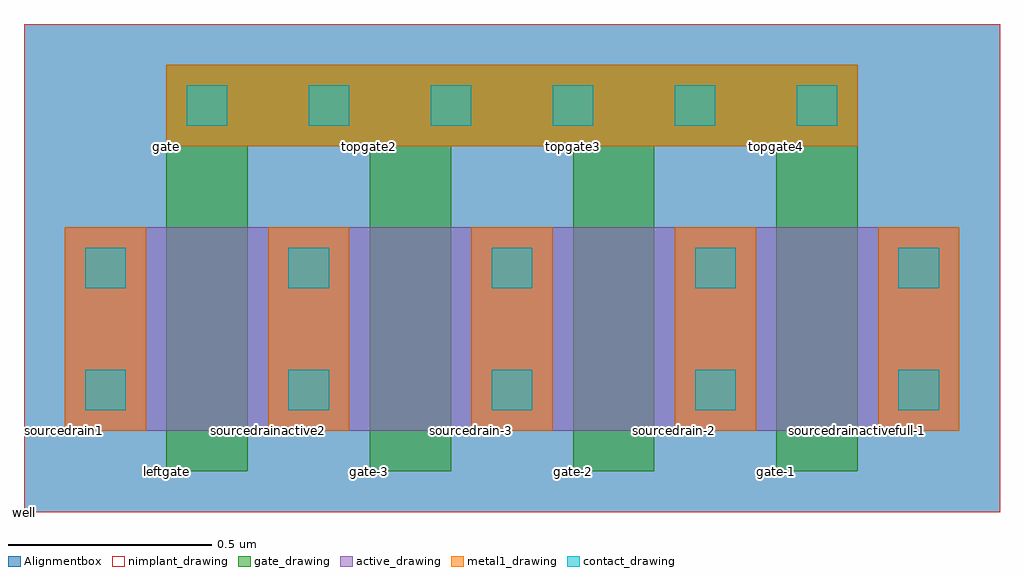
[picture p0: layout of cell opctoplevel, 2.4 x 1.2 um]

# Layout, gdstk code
import gdstk
lib = gdstk.Library(unit=1e-6, precision=1e-09)
def R(c, l, rs):  # rectangles x0, y0, x1, y1
    for r in rs: c.add(gdstk.rectangle(r[:2], r[2:], *l))
def A(c, l, x, y, w, h, nx, ny, dx, dy):  # array of equal rectangles
    R(c, l, [(x+i*dx, y+j*dy, x+i*dx+w, y+j*dy+h) for i in range(nx) for j in range(ny)])
Alignmentbox = (0, 0)
active_drawing = (1, 0)
nimplant_drawing = (5, 0)
gate_drawing = (6, 0)
contact_drawing = (7, 0)
metal1_drawing = (8, 0)

opctoplevel = lib.new_cell('opctoplevel')
A(opctoplevel, Alignmentbox, 0, 0.7, 0.2, 0.2, 4, 1, 0.5, 0)
R(opctoplevel, Alignmentbox, [(-0.35,-0.2,2.05,1), (-0.35,-0.2,2.05,1), (-0.33,-0.18,2.03,0.98), (0,-0.1,0.2,0.9), (0,-0.1,0.2,0.9), (0,-0.1,0.2,0.9), (0,-0.1,1.7,0.9), (0.5,-0.1,0.7,0.9), (0.5,-0.1,0.7,0.9), (1,-0.1,1.2,0.9), (1,-0.1,1.2,0.9), (1.5,-0.1,1.7,0.9), (1.5,-0.1,1.7,0.9), (1.5,-0.1,1.7,0.9), (-0.3,0,0,0.5), (-0.3,0,0,0.5), (-0.25,0,-0.05,0.5), (-0.25,0,-0.05,0.5), (-0.25,0,-0.05,0.5), (-0.25,0,-0.05,0.5), (-0.25,0,-0.05,0.5), (-0.25,0,-0.05,0.5), (-0.25,0,-0.05,0.5), (-0.25,0,1.95,0.5), (0.2,0,0.5,0.5), (0.2,0,0.5,0.5), (0.25,0,0.45,0.5), (0.25,0,0.45,0.5), (0.25,0,0.45,0.5), (0.25,0,0.45,0.5), (0.25,0,0.45,0.5), (0.25,0,0.45,0.5), (0.7,0,1,0.5), (0.7,0,1,0.5), (0.75,0,0.95,0.5), (0.75,0,0.95,0.5), (0.75,0,0.95,0.5), (0.75,0,0.95,0.5), (0.75,0,0.95,0.5), (0.75,0,0.95,0.5), (1.2,0,1.5,0.5), (1.2,0,1.5,0.5), (1.25,0,1.45,0.5), (1.25,0,1.45,0.5), (1.25,0,1.45,0.5), (1.25,0,1.45,0.5), (1.25,0,1.45,0.5), (1.25,0,1.45,0.5), (1.7,0,2,0.5), (1.7,0,2,0.5), (1.75,0,1.95,0.5), (1.75,0,1.95,0.5), (1.75,0,1.95,0.5), (1.75,0,1.95,0.5), (1.75,0,1.95,0.5), (1.75,0,1.95,0.5), (1.75,0,1.95,0.5), (0,0.7,1.7,0.9), (0,0.7,1.7,0.9)])
R(opctoplevel, active_drawing, [(-0.25,0,1.95,0.5)])
R(opctoplevel, nimplant_drawing, [(-0.35,-0.2,2.05,1)])
A(opctoplevel, gate_drawing, 0, -0.1, 0.2, 1, 4, 1, 0.5, 0)
R(opctoplevel, gate_drawing, [(0,0.7,1.7,0.9)])
A(opctoplevel, contact_drawing, -0.2, 0.05, 0.1, 0.1, 5, 2, 0.5, 0.3)
A(opctoplevel, contact_drawing, 0.05, 0.75, 0.1, 0.1, 6, 1, 0.3, 0)
A(opctoplevel, metal1_drawing, -0.25, 0, 0.2, 0.5, 5, 1, 0.5, 0)
R(opctoplevel, metal1_drawing, [(0,0.7,1.7,0.9)])
opctoplevel.add(gdstk.Label('sourcedrain1', (-0.25,0), layer=0, texttype=0))
opctoplevel.add(gdstk.Label('sourcedrain-3', (0.75,0), layer=0, texttype=0))
opctoplevel.add(gdstk.Label('sourcedrainmetal3', (0.75,0), layer=0, texttype=0))
opctoplevel.add(gdstk.Label('leftgate', (0,-0.1), layer=0, texttype=0))
opctoplevel.add(gdstk.Label('well', (-0.35,-0.2), layer=0, texttype=0))
opctoplevel.add(gdstk.Label('sourcedrainactive2', (0.25,0), layer=0, texttype=0))
opctoplevel.add(gdstk.Label('oxide', (-0.33,-0.18), layer=0, texttype=0))
opctoplevel.add(gdstk.Label('sourcedrainactivefull-1', (1.7,0), layer=0, texttype=0))
opctoplevel.add(gdstk.Label('sourcedrain-5', (-0.25,0), layer=0, texttype=0))
opctoplevel.add(gdstk.Label('gate', (0,0.7), layer=0, texttype=0))
opctoplevel.add(gdstk.Label('gate-1', (1.5,-0.1), layer=0, texttype=0))
opctoplevel.add(gdstk.Label('sourcedrain-2', (1.25,0), layer=0, texttype=0))
opctoplevel.add(gdstk.Label('sourcedrainactivefull3', (0.7,0), layer=0, texttype=0))
opctoplevel.add(gdstk.Label('sourcedrainactive4', (1.25,0), layer=0, texttype=0))
opctoplevel.add(gdstk.Label('gate1', (0,-0.1), layer=0, texttype=0))
opctoplevel.add(gdstk.Label('sourcedrainmetal2', (0.25,0), layer=0, texttype=0))
opctoplevel.add(gdstk.Label('sourcedrainactive3', (0.75,0), layer=0, texttype=0))
opctoplevel.add(gdstk.Label('sourcedrainmetal-1', (1.75,0), layer=0, texttype=0))
opctoplevel.add(gdstk.Label('sourcedrainactivefull-2', (1.2,0), layer=0, texttype=0))
opctoplevel.add(gdstk.Label('sourcedrain-4', (0.25,0), layer=0, texttype=0))
opctoplevel.add(gdstk.Label('sourcedrainactivefull2', (0.2,0), layer=0, texttype=0))
opctoplevel.add(gdstk.Label('topgatestrap', (0,0.7), layer=0, texttype=0))
opctoplevel.add(gdstk.Label('sourcedrainmetal5', (1.75,0), layer=0, texttype=0))
opctoplevel.add(gdstk.Label('sourcedrainactive5', (1.75,0), layer=0, texttype=0))
opctoplevel.add(gdstk.Label('sourcedrainactiveleft', (-0.25,0), layer=0, texttype=0))
opctoplevel.add(gdstk.Label('active', (-0.25,0), layer=0, texttype=0))
opctoplevel.add(gdstk.Label('implant', (-0.35,-0.2), layer=0, texttype=0))
opctoplevel.add(gdstk.Label('sourcedrainactivefull-4', (0.2,0), layer=0, texttype=0))
opctoplevel.add(gdstk.Label('rightgate', (1.5,-0.1), layer=0, texttype=0))
opctoplevel.add(gdstk.Label('sourcedrainmetal-2', (1.25,0), layer=0, texttype=0))
opctoplevel.add(gdstk.Label('sourcedrainactivefull-3', (0.7,0), layer=0, texttype=0))
opctoplevel.add(gdstk.Label('topgate3', (1,0.7), layer=0, texttype=0))
opctoplevel.add(gdstk.Label('gate-3', (0.5,-0.1), layer=0, texttype=0))
opctoplevel.add(gdstk.Label('sourcedrain4', (1.25,0), layer=0, texttype=0))
opctoplevel.add(gdstk.Label('sourcedrainactivefull5', (1.7,0), layer=0, texttype=0))
opctoplevel.add(gdstk.Label('topgate4', (1.5,0.7), layer=0, texttype=0))
opctoplevel.add(gdstk.Label('sourcedrainmetal4', (1.25,0), layer=0, texttype=0))
opctoplevel.add(gdstk.Label('sourcedrainmetal-4', (0.25,0), layer=0, texttype=0))
opctoplevel.add(gdstk.Label('sourcedrainactive-5', (-0.25,0), layer=0, texttype=0))
opctoplevel.add(gdstk.Label('sourcedrainactivefull-5', (-0.3,0), layer=0, texttype=0))
opctoplevel.add(gdstk.Label('sourcedrainmetal-3', (0.75,0), layer=0, texttype=0))
opctoplevel.add(gdstk.Label('sourcedrain2', (0.25,0), layer=0, texttype=0))
opctoplevel.add(gdstk.Label('topgate2', (0.5,0.7), layer=0, texttype=0))
opctoplevel.add(gdstk.Label('gate-2', (1,-0.1), layer=0, texttype=0))
opctoplevel.add(gdstk.Label('sourcedrain5', (1.75,0), layer=0, texttype=0))
opctoplevel.add(gdstk.Label('sourcedrainactivefull4', (1.2,0), layer=0, texttype=0))
opctoplevel.add(gdstk.Label('sourcedrainactive-3', (0.75,0), layer=0, texttype=0))
opctoplevel.add(gdstk.Label('gate4', (1.5,-0.1), layer=0, texttype=0))
opctoplevel.add(gdstk.Label('sourcedrainmetal-5', (-0.25,0), layer=0, texttype=0))
opctoplevel.add(gdstk.Label('sourcedrainactive-4', (0.25,0), layer=0, texttype=0))
opctoplevel.add(gdstk.Label('gate-4', (0,-0.1), layer=0, texttype=0))
opctoplevel.add(gdstk.Label('sourcedrain3', (0.75,0), layer=0, texttype=0))
opctoplevel.add(gdstk.Label('sourcedrain-1', (1.75,0), layer=0, texttype=0))
opctoplevel.add(gdstk.Label('topgate1', (0,0.7), layer=0, texttype=0))
opctoplevel.add(gdstk.Label('gate2', (0.5,-0.1), layer=0, texttype=0))
opctoplevel.add(gdstk.Label('sourcedrainmetal1', (-0.25,0), layer=0, texttype=0))
opctoplevel.add(gdstk.Label('sourcedrainactive-2', (1.25,0), layer=0, texttype=0))
opctoplevel.add(gdstk.Label('sourcedrainactiveright', (1.75,0), layer=0, texttype=0))
opctoplevel.add(gdstk.Label('sourcedrainactivefull1', (-0.3,0), layer=0, texttype=0))
opctoplevel.add(gdstk.Label('gate3', (1,-0.1), layer=0, texttype=0))
opctoplevel.add(gdstk.Label('sourcedrainactive-1', (1.75,0), layer=0, texttype=0))
opctoplevel.add(gdstk.Label('sourcedrainactive1', (-0.25,0), layer=0, texttype=0))
opctoplevel.add(gdstk.Label('gateboundingbox', (0,-0.1), layer=0, texttype=0))

lib.write_gds('opctoplevel.gds')
